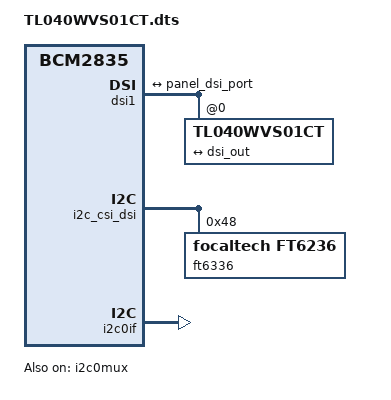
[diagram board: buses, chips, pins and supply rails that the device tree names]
/dts-v1/;
/plugin/;

/ {
        compatible = "brcm,bcm2835";

        dsi_frag: fragment@0 {
                target = <&dsi1>;
                __overlay__{
                        status = "okay";
                        #address-cells = <1>;
                        #size-cells = <0>;
                        port {
                                dsi_out:endpoint {
                                        remote-endpoint = <&panel_dsi_port>;
                                };
                        };
                        panel@0 {
                            compatible = "TL040WVS01CT","panel-dsi";
                            label = "TL040WVS01CT";
                            reg = <0>;
                            power-supply = <0>;
                            backlight = <0>;
                            dsi-color-format = "RGB666";
                            lanes = <1>;
                            mode = "MODE_VIDEO";
                            width-mm = <68>;
                            height-mm = <121>;

                            port {
                                panel_dsi_port: endpoint {
                                    remote-endpoint = <&dsi_out>;
                                };
                            };

                            panel-timing {
                                clock-frequency = <30000000>;
                                hactive = <480>;
                                vactive = <480>;
                                hback-porch = <44>;
                                hfront-porch = <46>;
                                hsync-len = <2>;
                                vback-porch = <18>;
                                vfront-porch = <16>;
                                vsync-len = <2>;

                                hsync-active = <0>;
                                vsync-active = <0>;
                                de-active = <1>;
                                pixelclk-active = <1>;
                            };
                        };
                };
        };

        i2c_frag: fragment@1 {
            target = <&i2c_csi_dsi>;
            __overlay__ {
                #address-cells = <1>;
                #size-cells = <0>;
                status = "okay";

                ft6336: touchscreen@48 {
                    compatible = "focaltech,ft6236";
                    reg = <0x48>;

                    touchscreen-size-x = < 480 >;
                    touchscreen-size-y = < 480 >;
                };

            };
        };

        fragment@2 {
            target = <&i2c0if>;
            __overlay__ {
                status = "okay";
            };
        };

        fragment@3 {
            target = <&i2c0mux>;
            __overlay__ {
                status = "okay";
            };
        };

        __overrides__ {
		dsi0 = <&dsi_frag>, "target:0=",<&dsi0>,
		       <&i2c_frag>, "target:0=",<&i2c_csi_dsi0>;
	};

};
